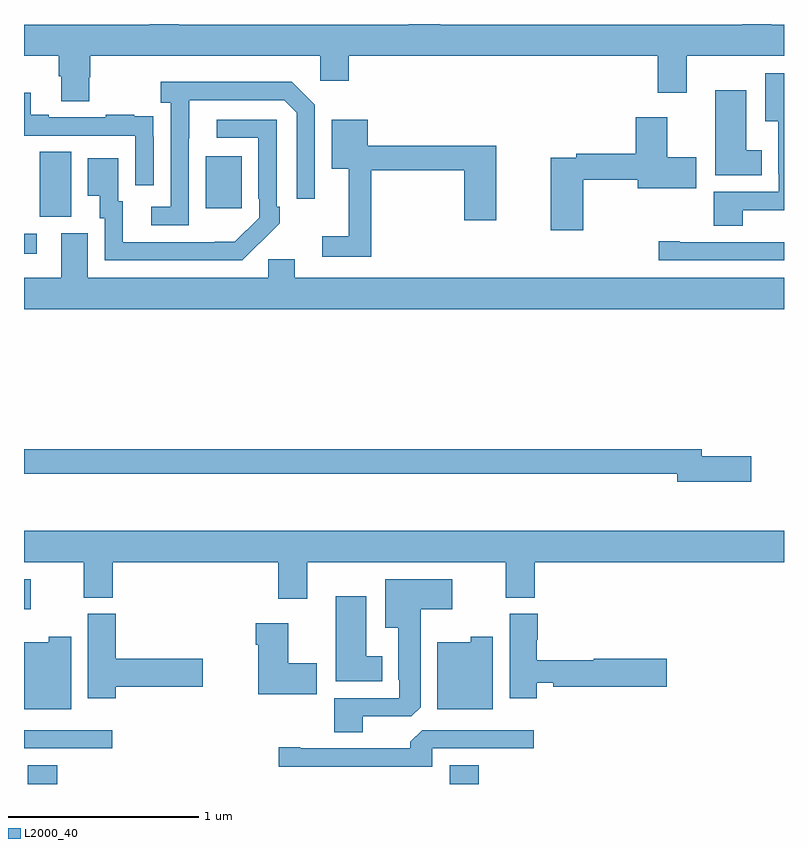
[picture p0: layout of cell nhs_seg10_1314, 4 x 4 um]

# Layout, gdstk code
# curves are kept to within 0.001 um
import gdstk
lib = gdstk.Library(unit=1e-6, precision=1e-09)
def R(c, l, rs):  # rectangles x0, y0, x1, y1
    for r in rs: c.add(gdstk.rectangle(r[:2], r[2:], *l))
def P(c, l, *ps):  # polygons
    for p in ps: c.add(gdstk.Polygon(p, *l))
L2000_40 = (2000, 40)

nhs_seg10_1314 = lib.new_cell('nhs_seg10_1314')
R(nhs_seg10_1314, L2000_40, [(179.021,1280.5,179.174,1280.599), (181.241,1280.5,181.394,1280.599), (179,1280.688,179.464,1280.784), (179,1281.419,179.035,1281.577), (179,1283.292,179.068,1283.397), (179.084,1283.485,179.248,1283.828), (179.957,1283.529,180.145,1283.803)])
P(nhs_seg10_1314, L2000_40, [(179.343,1284.219),(179.348,1284.219),(179.348,1284.332),(180.558,1284.332),(180.558,1284.201),(180.71,1284.201),(180.71,1284.332),(182.336,1284.332),(182.336,1284.138),(182.488,1284.138),(182.488,1284.332),(183,1284.332),(183,1284.496),(182.932,1284.496),(182.932,1284.5),(182.78,1284.5),(182.78,1284.496),(181.19,1284.496),(181.19,1284.5),(181.025,1284.5),(181.025,1284.496),(179.814,1284.496),(179.814,1284.5),(179.663,1284.5),(179.663,1284.496),(179,1284.496),(179,1284.332),(179.183,1284.332),(179.183,1284.226),(179.195,1284.226),(179.195,1284.094),(179.343,1284.094)],
  [(182.782,1283.52),(183,1283.52),(183,1284.241),(182.9,1284.241),(182.9,1283.987),(182.969,1283.987),(182.969,1283.713),(182.973,1283.713),(182.973,1283.616),(182.63,1283.616),(182.63,1283.437),(182.782,1283.437)],
  [(179.868,1283.899),(179.869,1284.099),(180.369,1284.099),(180.435,1284.033),(180.435,1283.58),(180.531,1283.58),(180.531,1284.075),(180.41,1284.196),(179.721,1284.196),(179.721,1284.086),(179.772,1284.086),(179.772,1283.538),(179.67,1283.538),(179.67,1283.442),(179.868,1283.442)],
  [(182.884,1283.836),(182.8,1283.836),(182.8,1284.151),(182.639,1284.151),(182.639,1283.705),(182.884,1283.705)],
  [(179.682,1283.906),(179.681,1283.906),(179.681,1284.015),(179.579,1284.015),(179.579,1284.022),(179.431,1284.022),(179.431,1284.009),(179.131,1284.009),(179.131,1284.022),(179.035,1284.022),(179.035,1284.139),(179,1284.139),(179,1283.913),(179.586,1283.913),(179.586,1283.652),(179.682,1283.652)],
  [(181.943,1283.68),(182.231,1283.68),(182.231,1283.636),(182.539,1283.636),(182.539,1283.799),(182.386,1283.799),(182.386,1284.01),(182.219,1284.01),(182.219,1283.816),(181.906,1283.816),(181.906,1283.796),(181.772,1283.796),(181.772,1283.415),(181.943,1283.415)],
  [(180.239,1283.347),(180.24,1283.346),(180.345,1283.451),(180.345,1283.539),(180.33,1283.539),(180.33,1283.997),(180.015,1283.997),(180.015,1283.901),(180.234,1283.901),(180.234,1283.581),(180.237,1283.581),(180.237,1283.481),(180.109,1283.353),(179.521,1283.352),(179.521,1283.568),(179.497,1283.568),(179.497,1283.794),(179.336,1283.794),(179.336,1283.597),(179.399,1283.597),(179.399,1283.478),(179.424,1283.478),(179.424,1283.256),(180.148,1283.256)],
  [(180.827,1283.731),(181.316,1283.731),(181.316,1283.466),(181.486,1283.466),(181.486,1283.86),(180.808,1283.86),(180.808,1283.995),(180.62,1283.995),(180.62,1283.738),(180.71,1283.738),(180.71,1283.383),(180.57,1283.383),(180.57,1283.274),(180.827,1283.274)],
  [(183,1283.164),(180.424,1283.164),(180.424,1283.262),(180.285,1283.262),(180.285,1283.164),(179.335,1283.164),(179.335,1283.4),(179.195,1283.4),(179.195,1283.164),(179,1283.164),(179,1283),(183,1283)],
  [(183,1283.352),(182.452,1283.352),(182.452,1283.357),(182.34,1283.357),(182.34,1283.256),(183,1283.256)],
  [(182.827,1282.226),(182.566,1282.226),(182.566,1282.262),(179,1282.262),(179,1282.134),(182.438,1282.134),(182.438,1282.091),(182.827,1282.091)],
  [(180.49,1281.668),(181.535,1281.668),(181.535,1281.481),(181.688,1281.481),(181.688,1281.668),(183,1281.668),(183,1281.832),(179,1281.832),(179,1281.668),(179.315,1281.668),(179.315,1281.481),(179.468,1281.481),(179.468,1281.668),(180.338,1281.668),(180.338,1281.474),(180.49,1281.474)],
  [(180.784,1280.856),(181.038,1280.856),(181.087,1280.905),(181.087,1281.419),(181.255,1281.419),(181.255,1281.577),(180.902,1281.577),(180.902,1281.323),(180.971,1281.323),(180.971,1281.049),(180.975,1281.049),(180.975,1280.952),(180.632,1280.952),(180.632,1280.773),(180.784,1280.773)],
  [(180.886,1281.172),(180.802,1281.172),(180.802,1281.487),(180.641,1281.487),(180.641,1281.041),(180.886,1281.041)],
  [(181.698,1281.034),(181.786,1281.034),(181.786,1281.011),(182.383,1281.011),(182.383,1281.158),(181.998,1281.158),(181.998,1281.152),(181.698,1281.152),(181.698,1281.26),(181.703,1281.26),(181.703,1281.396),(181.556,1281.396),(181.556,1280.952),(181.698,1280.952)],
  [(179.483,1281.011),(179.941,1281.011),(179.941,1281.158),(179.483,1281.158),(179.483,1281.396),(179.336,1281.396),(179.336,1280.952),(179.483,1280.952)],
  [(180.541,1281.135),(180.391,1281.135),(180.391,1281.346),(180.221,1281.346),(180.221,1281.233),(180.233,1281.233),(180.233,1280.972),(180.541,1280.972)],
  [(179.248,1281.274),(179.13,1281.274),(179.13,1281.247),(179,1281.247),(179,1280.894),(179.248,1280.894)],
  [(181.468,1281.274),(181.35,1281.274),(181.35,1281.247),(181.175,1281.247),(181.175,1280.894),(181.468,1280.894)],
  [(181.149,1280.688),(181.684,1280.688),(181.684,1280.784),(181.095,1280.784),(181.034,1280.722),(181.034,1280.688),(180.454,1280.688),(180.454,1280.693),(180.342,1280.693),(180.342,1280.592),(181.149,1280.592)])

lib.write_gds('nhs_seg10_1314.gds')
